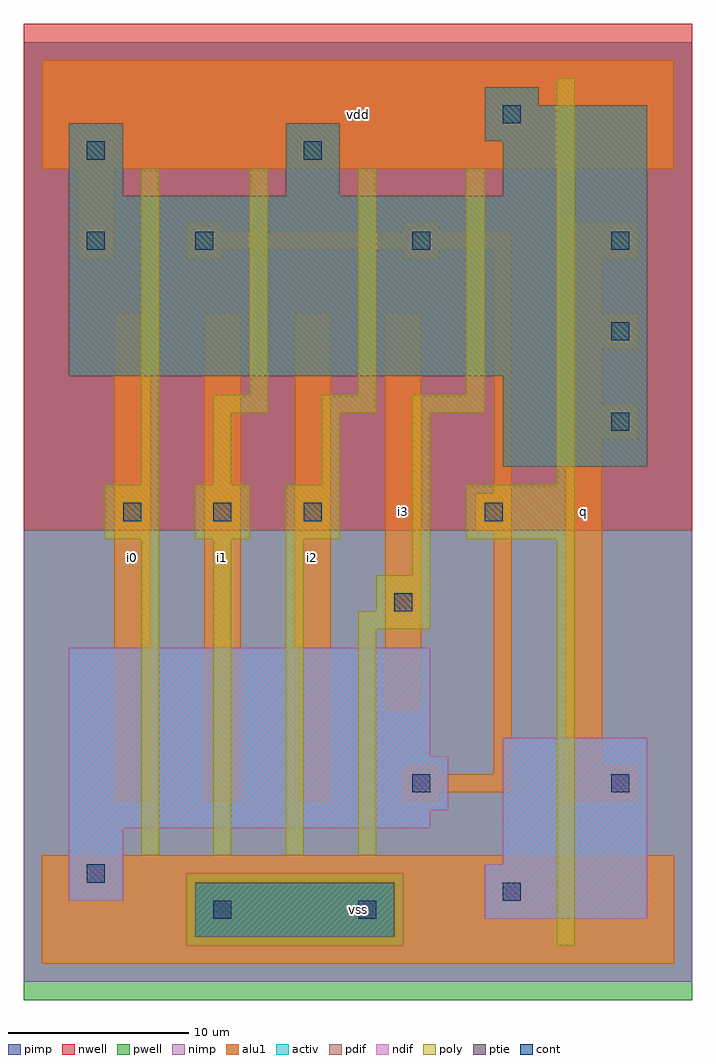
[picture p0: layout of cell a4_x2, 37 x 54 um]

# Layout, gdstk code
import gdstk
lib = gdstk.Library(unit=1e-6, precision=1e-09)
def R(c, l, rs):  # rectangles x0, y0, x1, y1
    for r in rs: c.add(gdstk.rectangle(r[:2], r[2:], *l))
def A(c, l, x, y, w, h, nx, ny, dx, dy):  # array of equal rectangles
    R(c, l, [(x+i*dx, y+j*dy, x+i*dx+w, y+j*dy+h) for i in range(nx) for j in range(ny)])
ndif = (3, 0)
pdif = (4, 0)
ptie = (6, 0)
cont = (25, 0)
pwell = (41, 0)
nwell = (42, 0)
activ = (43, 0)
pimp = (44, 0)
nimp = (45, 0)
poly = (46, 0)
alu1 = (49, 0)

a4_x2 = lib.new_cell('a4_x2')
R(a4_x2, ndif, [(24.5,2.5,33.5,5.5), (1.5,3.5,4.5,7.5), (25.5,5.5,33.5,12.5), (1.5,7.5,21.5,8.5), (1.5,8.5,22.5,11.5), (1.5,11.5,21.5,17.5)])
R(a4_x2, pdif, [(25.5,27.5,33.5,32.5), (1.5,32.5,33.5,42.5), (1.5,42.5,4.5,46.5), (13.5,42.5,16.5,46.5), (25.5,42.5,33.5,45.5), (24.5,45.5,33.5,47.5), (24.5,47.5,27.5,48.5)])
R(a4_x2, ptie, [(8.5,1.5,19.5,4.5)])
A(a4_x2, cont, 4.5, 24.5, 1, 1, 3, 1, 5, 0)
A(a4_x2, cont, 31.5, 29.5, 1, 1, 1, 3, 0, 5)
R(a4_x2, cont, [(9.5,2.5,10.5,3.5), (17.5,2.5,18.5,3.5), (25.5,3.5,26.5,4.5), (2.5,4.5,3.5,5.5), (20.5,9.5,21.5,10.5), (31.5,9.5,32.5,10.5), (19.5,19.5,20.5,20.5), (24.5,24.5,25.5,25.5), (2.5,39.5,3.5,40.5), (8.5,39.5,9.5,40.5), (20.5,39.5,21.5,40.5), (2.5,44.5,3.5,45.5), (14.5,44.5,15.5,45.5), (25.5,46.5,26.5,47.5)])
R(a4_x2, pwell, [(-1,-2,36,24)])
R(a4_x2, nwell, [(-1,24,36,52)])
R(a4_x2, activ, [(8.5,1.5,19.5,4.5), (24.5,2.5,33.5,5.5), (1.5,3.5,4.5,7.5), (25.5,5.5,33.5,12.5), (1.5,7.5,21.5,8.5), (1.5,8.5,22.5,11.5), (1.5,11.5,21.5,17.5), (25.5,27.5,33.5,32.5), (1.5,32.5,33.5,42.5), (1.5,42.5,4.5,46.5), (13.5,42.5,16.5,46.5), (25.5,42.5,33.5,45.5), (24.5,45.5,33.5,47.5), (24.5,47.5,27.5,48.5)])
R(a4_x2, pimp, [(8,1,20,5), (-1,24,36,51)])
R(a4_x2, nimp, [(-1,-1,36,1), (-1,1,8,5), (20,1,36,5), (-1,5,36,24)])
A(a4_x2, poly, 5.5, 6, 1, 17.5, 3, 1, 4, 0)
A(a4_x2, poly, 3.5, 23.5, 3, 3, 3, 1, 5, 0)
A(a4_x2, poly, 11.5, 31.5, 1, 12.5, 3, 1, 6, 0)
R(a4_x2, poly, [(28.5,1,29.5,23.5), (17.5,6,18.5,18.5), (17.5,18.5,21.5,19.5), (18.5,19.5,21.5,21.5), (20.5,21.5,21.5,30.5), (23.5,23.5,29.5,26.5), (5.5,26.5,6.5,44), (9.5,26.5,10.5,30.5), (15.5,26.5,16.5,30.5), (28.5,26.5,29.5,49), (9.5,30.5,12.5,31.5), (15.5,30.5,18.5,31.5), (20.5,30.5,24.5,31.5)])
A(a4_x2, alu1, 4, 9, 2, 27, 3, 1, 5, 0)
A(a4_x2, alu1, 29, 29, 4, 2, 1, 3, 0, 5)
R(a4_x2, alu1, [(0,0,35,6), (20,9,22,9.5), (29,9,33,11), (20,9.5,26,10.5), (20,10.5,22,11), (25,10.5,26,24), (29,11,31,29), (19,14,21,36), (24,24,26,26), (25,26,26,39.5), (29,31,31,34), (29,36,31,39), (2,39,4,44), (8,39,10,39.5), (20,39,22,39.5), (8,39.5,26,40.5), (8,40.5,10,41), (20,40.5,22,41), (0,44,35,50)])
a4_x2.add(gdstk.Label('i0', (5,22.5), layer=49, texttype=0))
a4_x2.add(gdstk.Label('i1', (10,22.5), layer=49, texttype=0))
a4_x2.add(gdstk.Label('i2', (15,22.5), layer=49, texttype=0))
a4_x2.add(gdstk.Label('vss', (17.5,3), layer=49, texttype=0))
a4_x2.add(gdstk.Label('i3', (20,25), layer=49, texttype=0))
a4_x2.add(gdstk.Label('vdd', (17.5,47), layer=49, texttype=0))
a4_x2.add(gdstk.Label('q', (30,25), layer=49, texttype=0))

lib.write_gds('a4_x2.gds')
